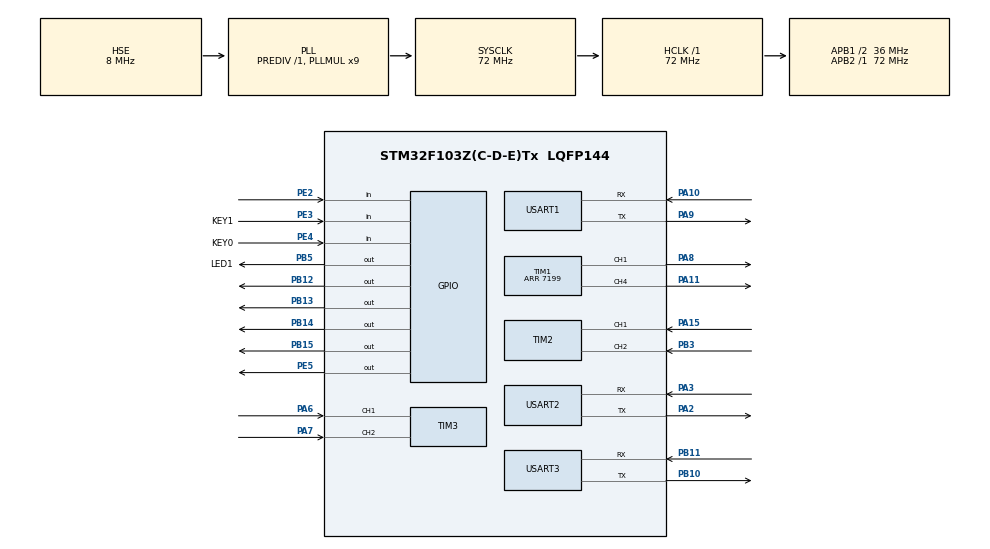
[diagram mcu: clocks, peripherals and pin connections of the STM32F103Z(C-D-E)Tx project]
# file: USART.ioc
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FREERTOS.Tasks01=Init_Task,2,128,Init_Function,Default,NULL,Dynamic,NULL,NULL;LED_Task,-3,128,LED_Function,Default,NULL,Dynamic,NULL,NULL;myTaskKEY,-3,128,StartTaskKEY,Default,NULL,Dynamic,NULL,NULL
Mcu.Family=STM32F1
Mcu.Name=STM32F103Z(C-D-E)Tx
Mcu.Package=LQFP144
NVIC.PriorityGroup=NVIC_PRIORITYGROUP_4
NVIC.TIM2_IRQn=true\:5\:0\:false\:false\:true\:true\:true\:true
NVIC.TIM3_IRQn=true\:5\:0\:false\:false\:true\:true\:true\:true
NVIC.TIM4_IRQn=true\:5\:0\:false\:false\:true\:true\:true\:true
NVIC.TIM8_UP_IRQn=true\:15\:0\:false\:false\:true\:false\:false\:true
NVIC.TimeBase=TIM8_UP_IRQn
NVIC.TimeBaseIP=TIM8
NVIC.USART1_IRQn=true\:5\:0\:false\:false\:true\:true\:true\:true
NVIC.USART2_IRQn=true\:5\:0\:false\:false\:true\:true\:true\:true
NVIC.USART3_IRQn=true\:5\:0\:false\:false\:true\:true\:true\:true
OSC_IN.Mode=HSE-External-Oscillator
OSC_IN.Signal=RCC_OSC_IN
OSC_OUT.Mode=HSE-External-Oscillator
OSC_OUT.Signal=RCC_OSC_OUT
PA10.Mode=Asynchronous
PA10.Signal=USART1_RX
PA11.Signal=S_TIM1_CH4
PA13.Mode=Serial_Wire
PA13.Signal=SYS_JTMS-SWDIO
PA14.Mode=Serial_Wire
PA14.Signal=SYS_JTCK-SWCLK
PA15.Signal=S_TIM2_CH1_ETR
PA2.Mode=Asynchronous
PA2.Signal=USART2_TX
PA3.Mode=Asynchronous
PA3.Signal=USART2_RX
PA6.Signal=S_TIM3_CH1
PA7.Signal=S_TIM3_CH2
PA8.Signal=S_TIM1_CH1
PA9.Mode=Asynchronous
PA9.Signal=USART1_TX
PB10.Mode=Asynchronous
PB10.Signal=USART3_TX
PB11.Mode=Asynchronous
PB11.Signal=USART3_RX
PB12.GPIO_Speed=GPIO_SPEED_FREQ_MEDIUM
PB12.Signal=GPIO_Output
PB13.GPIO_Speed=GPIO_SPEED_FREQ_MEDIUM
PB13.Signal=GPIO_Output
PB14.GPIO_Speed=GPIO_SPEED_FREQ_MEDIUM
PB14.Signal=GPIO_Output
PB15.GPIO_Speed=GPIO_SPEED_FREQ_MEDIUM
PB15.Signal=GPIO_Output
PB3.Signal=S_TIM2_CH2
PB5.GPIO_Label=LED1
PB5.Signal=GPIO_Output
PE2.Signal=GPIO_Input
PE3.GPIO_Label=KEY1
PE3.GPIO_PuPd=GPIO_PULLUP
PE3.Signal=GPIO_Input
PE4.GPIO_Label=KEY0
PE4.GPIO_PuPd=GPIO_PULLUP
PE4.Signal=GPIO_Input
PE5.Signal=GPIO_Output
ProjectManager.HeapSize=0x200
ProjectManager.StackSize=0x400
ProjectManager.TargetToolchain=MDK-ARM V5.32
RCC.AHBFreq_Value=72000000
RCC.APB1CLKDivider=RCC_HCLK_DIV2
RCC.APB1Freq_Value=36000000
RCC.APB1TimFreq_Value=72000000
RCC.APB2Freq_Value=72000000
RCC.APB2TimFreq_Value=72000000
RCC.HCLKFreq_Value=72000000
RCC.PLLMUL=RCC_PLL_MUL9
RCC.PLLSourceVirtual=RCC_PLLSOURCE_HSE
RCC.SYSCLKFreq_VALUE=72000000
RCC.SYSCLKSource=RCC_SYSCLKSOURCE_PLLCLK
RCC.USBFreq_Value=72000000
SH.S_TIM1_CH1.0=TIM1_CH1,PWM Generation1 CH1
SH.S_TIM1_CH4.0=TIM1_CH4,PWM Generation4 CH4
SH.S_TIM2_CH1_ETR.0=TIM2_CH1,Encoder_Interface
SH.S_TIM2_CH2.0=TIM2_CH2,Encoder_Interface
SH.S_TIM3_CH1.0=TIM3_CH1,Encoder_Interface
SH.S_TIM3_CH2.0=TIM3_CH2,Encoder_Interface
TIM1.Channel-PWM\ Generation1\ CH1=TIM_CHANNEL_1
TIM1.Channel-PWM\ Generation4\ CH4=TIM_CHANNEL_4
TIM1.Period=7199
TIM2.EncoderMode=TIM_ENCODERMODE_TI12
TIM2.IC1Filter=10
TIM2.IC2Filter=10
TIM3.EncoderMode=TIM_ENCODERMODE_TI12
TIM3.IC1Filter=10
TIM3.IC2Filter=10
TIM4.Period=7199
TIM4.Prescaler=99
USART1.VirtualMode=VM_ASYNC
USART2.VirtualMode=VM_ASYNC
USART3.VirtualMode=VM_ASYNC
VP_FREERTOS_VS_CMSIS_V1.Mode=CMSIS_V1
VP_SYS_VS_tim8.Mode=TIM8
VP_TIM1_VS_ClockSourceINT.Mode=Internal
VP_TIM4_VS_ClockSourceINT.Mode=Internal
board=custom

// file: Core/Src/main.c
/* USER CODE BEGIN Header */
/**
  ******************************************************************************
  * @file           : main.c
  * @brief          : Main program body
  ******************************************************************************
  * @attention
  *
  * Copyright (c) 2023 STMicroelectronics.
  * All rights reserved.
  *
  * This software is licensed under terms that can be found in the LICENSE file
  * in the root directory of this software component.
  * If no LICENSE file comes with this software, it is provided AS-IS.
  *
  ******************************************************************************
  */
/* USER CODE END Header */
#include "main.h"
#include "cmsis_os.h"
#include "tim.h"
#include "usart.h"
#include "gpio.h"

void SystemClock_Config(void);
void MX_FREERTOS_Init(void);

int main(void)
{

  /* MCU Configuration--------------------------------------------------------*/

  /* Reset of all peripherals, Initializes the Flash interface and the Systick. */
  HAL_Init();

  /* Configure the system clock */
  SystemClock_Config();

  /* Initialize all configured peripherals */
  MX_GPIO_Init();
  MX_USART1_UART_Init();
  MX_USART2_UART_Init();
  MX_USART3_UART_Init();
  MX_TIM2_Init();
  MX_TIM3_Init();
  MX_TIM4_Init();
  MX_TIM1_Init();

  /* Call init function for freertos objects (in freertos.c) */
  MX_FREERTOS_Init();
  /* Start scheduler */
  osKernelStart();

  /* We should never get here as control is now taken by the scheduler */
  /* Infinite loop */
  while (1)
  {

  }
}

void SystemClock_Config(void)
{
  RCC_OscInitTypeDef RCC_OscInitStruct = {0};
  RCC_ClkInitTypeDef RCC_ClkInitStruct = {0};

  /** Initializes the RCC Oscillators according to the specified parameters
  * in the RCC_OscInitTypeDef structure.
  */
  RCC_OscInitStruct.OscillatorType = RCC_OSCILLATORTYPE_HSE;
  RCC_OscInitStruct.HSEState = RCC_HSE_ON;
  RCC_OscInitStruct.HSEPredivValue = RCC_HSE_PREDIV_DIV1;
  RCC_OscInitStruct.HSIState = RCC_HSI_ON;
  RCC_OscInitStruct.PLL.PLLState = RCC_PLL_ON;
  RCC_OscInitStruct.PLL.PLLSource = RCC_PLLSOURCE_HSE;
  RCC_OscInitStruct.PLL.PLLMUL = RCC_PLL_MUL9;
  if (HAL_RCC_OscConfig(&RCC_OscInitStruct) != HAL_OK)
  {
    Error_Handler();
  }
  /** Initializes the CPU, AHB and APB buses clocks
  */
  RCC_ClkInitStruct.ClockType = RCC_CLOCKTYPE_HCLK|RCC_CLOCKTYPE_SYSCLK
                              |RCC_CLOCKTYPE_PCLK1|RCC_CLOCKTYPE_PCLK2;
  RCC_ClkInitStruct.SYSCLKSource = RCC_SYSCLKSOURCE_PLLCLK;
  RCC_ClkInitStruct.AHBCLKDivider = RCC_SYSCLK_DIV1;
  RCC_ClkInitStruct.APB1CLKDivider = RCC_HCLK_DIV2;
  RCC_ClkInitStruct.APB2CLKDivider = RCC_HCLK_DIV1;

  if (HAL_RCC_ClockConfig(&RCC_ClkInitStruct, FLASH_LATENCY_2) != HAL_OK)
  {
    Error_Handler();
  }
}

/* USER CODE BEGIN 4 */
int cnt=0;
long x;
float y;

/* USER CODE END 4 */

void Error_Handler(void)
{
  __disable_irq();
  while (1)
  {
  }
}

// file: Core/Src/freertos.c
/* USER CODE BEGIN Header */
/**
  ******************************************************************************
  * File Name          : freertos.c
  * Description        : Code for freertos applications
  ******************************************************************************
  * @attention
  *
  * Copyright (c) 2023 STMicroelectronics.
  * All rights reserved.
  *
  * This software is licensed under terms that can be found in the LICENSE file
  * in the root directory of this software component.
  * If no LICENSE file comes with this software, it is provided AS-IS.
  *
  ******************************************************************************
  */
/* USER CODE END Header */

#include "FreeRTOS.h"
#include "task.h"
#include "main.h"
#include "cmsis_os.h"

osThreadId Init_TaskHandle;
osThreadId LED_TaskHandle;
osThreadId myTaskKEYHandle;

void Init_Function(void const * argument);
void LED_Function(void const * argument);
void StartTaskKEY(void const * argument);

void MX_FREERTOS_Init(void); /* (MISRA C 2004 rule 8.1) */

/* GetIdleTaskMemory prototype (linked to static allocation support) */
void vApplicationGetIdleTaskMemory( StaticTask_t **ppxIdleTaskTCBBuffer, StackType_t **ppxIdleTaskStackBuffer, uint32_t *pulIdleTaskStackSize );

/* USER CODE BEGIN GET_IDLE_TASK_MEMORY */
static StaticTask_t xIdleTaskTCBBuffer;
static StackType_t xIdleStack[configMINIMAL_STACK_SIZE];

void vApplicationGetIdleTaskMemory( StaticTask_t **ppxIdleTaskTCBBuffer, StackType_t **ppxIdleTaskStackBuffer, uint32_t *pulIdleTaskStackSize )
{
  *ppxIdleTaskTCBBuffer = &xIdleTaskTCBBuffer;
  *ppxIdleTaskStackBuffer = &xIdleStack[0];
  *pulIdleTaskStackSize = configMINIMAL_STACK_SIZE;
  /* place for user code */
}
/* USER CODE END GET_IDLE_TASK_MEMORY */

void MX_FREERTOS_Init(void) {

  /* Create the thread(s) */
  /* definition and creation of Init_Task */
  osThreadDef(Init_Task, Init_Function, osPriorityNormal, 0, 128);
  Init_TaskHandle = osThreadCreate(osThread(Init_Task), NULL);

  /* definition and creation of LED_Task */
  osThreadDef(LED_Task, LED_Function, osPriorityIdle, 0, 256);
  LED_TaskHandle = osThreadCreate(osThread(LED_Task), NULL);

  /* definition and creation of myTaskKEY */
  osThreadDef(myTaskKEY, StartTaskKEY, osPriorityIdle, 0, 256);
  myTaskKEYHandle = osThreadCreate(osThread(myTaskKEY), NULL);

}

void Init_Function(void const * argument)
{
  /* USER CODE BEGIN Init_Function */
  /* Infinite loop */
  for(;;)
  {
		taskENTER_CRITICAL(); //进入临界区
		HAL_UART_Receive_IT(&huart1, (uint8_t *)&aRxBuffer, 1);   //再开启接收中断
		PID_Init();

		location_increment_target_val=Rpm_Encoder_Cnt(2);
		location_PID.target_val=Num_Encoder_Cnt(5);

		Motor_Start();
		Encoder_Start();
		control_Init();
		vTaskDelete(NULL);
		taskEXIT_CRITICAL();            //退出临界区
  }
  /* USER CODE END Init_Function */
}

void LED_Function(void const * argument)
{
  /* USER CODE BEGIN LED_Function */
  /* Infinite loop */
  for(;;)
  {
		if(led_flag==1)
		{
			LED1=0;
			osDelay(500);
			LED1=1;
			osDelay(500);
		}
		else if(led_flag==2)
		{
			LED2_ON();
			osDelay(500);
			LED2_OFF();
			osDelay(500);
		}
    osDelay(1);
  }
  /* USER CODE END LED_Function */
}

void StartTaskKEY(void const * argument)
{
  /* USER CODE BEGIN StartTaskKEY */
  /* Infinite loop */
  for(;;)
  {
	  uint8_t key=KEY_Scan();
	  if(key)
	  {
		  if(key==1)
		  {
			  led_flag=1;
		  }
		  else if(key==2)
		  {
			  led_flag=2;
		  }
	  }
    osDelay(1);
  }
  /* USER CODE END StartTaskKEY */
}
